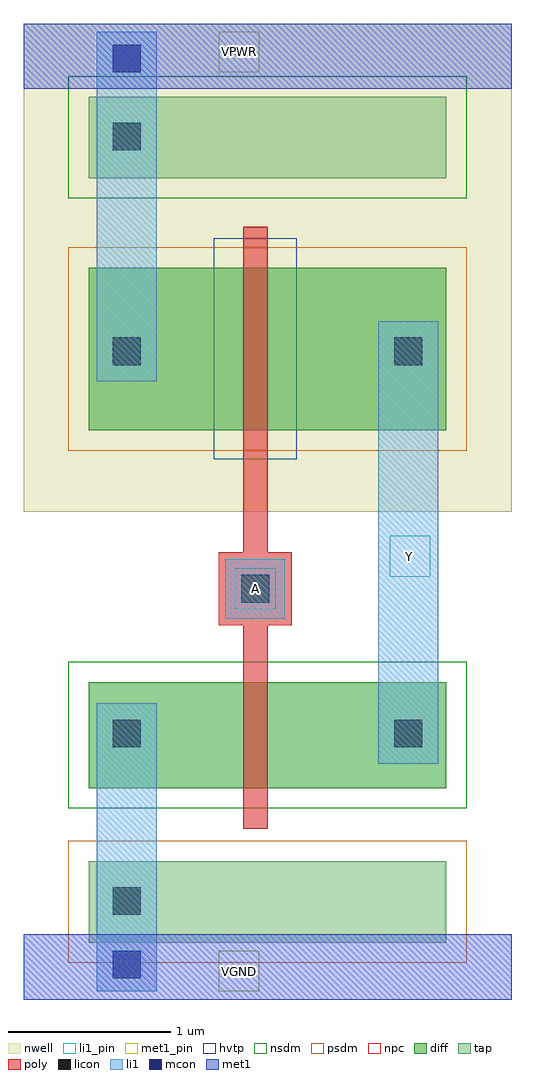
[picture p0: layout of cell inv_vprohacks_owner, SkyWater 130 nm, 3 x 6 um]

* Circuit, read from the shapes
.subckt inv_vprohacks_owner A VGND VPWR Y
XM1 Y A VGND VGND sky130_fd_pr__nfet_01v8 w=0.65 l=0.15
XM2 Y A VPWR VPWR sky130_fd_pr__pfet_01v8_hvt w=1 l=0.15
.ends

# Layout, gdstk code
import gdstk
lib = gdstk.Library(unit=1e-6, precision=1e-09)
def R(c, l, rs):  # rectangles x0, y0, x1, y1
    for r in rs: c.add(gdstk.rectangle(r[:2], r[2:], *l))
nwell = (64, 20)
diff = (65, 20)
tap = (65, 44)
poly = (66, 20)
licon = (66, 44)
li1_pin = (67, 16)
li1 = (67, 20)
mcon = (67, 44)
met1_pin = (68, 16)
met1 = (68, 20)
hvtp = (78, 44)
nsdm = (93, 44)
psdm = (94, 20)
npc = (95, 20)

inv_vprohacks_owner = lib.new_cell('inv_vprohacks_owner')
R(inv_vprohacks_owner, nwell, [(0,3,3,6)])
R(inv_vprohacks_owner, diff, [(0.4,1.3,2.6,1.95), (0.4,3.5,2.6,4.5)])
R(inv_vprohacks_owner, tap, [(0.4,0.35,2.6,0.85), (0.4,5.05,2.6,5.55)])
R(inv_vprohacks_owner, poly, [(1.35,1.05,1.5,2.3), (1.2,2.3,1.65,2.75), (1.35,2.75,1.5,4.75)])
R(inv_vprohacks_owner, licon, [(0.55,0.52,0.72,0.69), (0.55,1.55,0.72,1.72), (2.28,1.55,2.45,1.72), (1.34,2.44,1.51,2.61), (0.55,3.9,0.72,4.07), (2.28,3.9,2.45,4.07), (0.55,5.22,0.72,5.39)])
R(inv_vprohacks_owner, li1_pin, [(1.3,2.4,1.55,2.65), (2.25,2.6,2.5,2.85)])
R(inv_vprohacks_owner, li1, [(0.45,0.05,0.82,1.82), (2.18,1.45,2.55,4.17), (1.24,2.34,1.61,2.71), (0.45,3.8,0.82,5.95)])
R(inv_vprohacks_owner, mcon, [(0.55,0.13,0.72,0.3), (0.55,5.7,0.72,5.87)])
R(inv_vprohacks_owner, met1_pin, [(1.2,0.05,1.45,0.3), (1.2,5.7,1.45,5.95)])
R(inv_vprohacks_owner, met1, [(0,0,3,0.4), (0,5.6,3,6)])
R(inv_vprohacks_owner, hvtp, [(1.17,3.32,1.68,4.68)])
R(inv_vprohacks_owner, nsdm, [(0.275,1.175,2.725,2.075), (0.275,4.925,2.725,5.675)])
R(inv_vprohacks_owner, psdm, [(0.275,0.225,2.725,0.975), (0.275,3.375,2.725,4.625)])
R(inv_vprohacks_owner, npc, [(1.24,2.34,1.61,2.71)])
inv_vprohacks_owner.add(gdstk.Label('A', (1.425,2.525), layer=67, texttype=5))
inv_vprohacks_owner.add(gdstk.Label('Y', (2.375,2.725), layer=67, texttype=5))
inv_vprohacks_owner.add(gdstk.Label('VPWR', (1.325,5.825), layer=68, texttype=5))
inv_vprohacks_owner.add(gdstk.Label('VGND', (1.325,0.175), layer=68, texttype=5))

lib.write_gds('inv_vprohacks_owner.gds')
